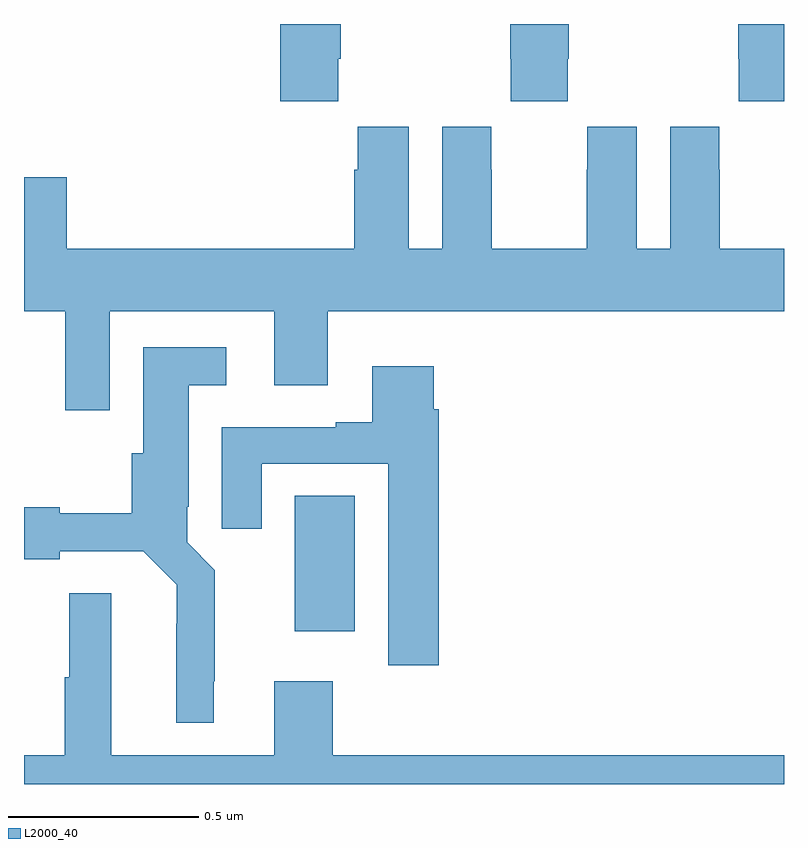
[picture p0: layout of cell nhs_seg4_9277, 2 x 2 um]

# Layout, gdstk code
import gdstk
lib = gdstk.Library(unit=1e-6, precision=1e-09)
def R(c, l, rs):  # rectangles x0, y0, x1, y1
    for r in rs: c.add(gdstk.rectangle(r[:2], r[2:], *l))
def P(c, l, *ps):  # polygons
    for p in ps: c.add(gdstk.Polygon(p, *l))
L2000_40 = (2000, 40)

nhs_seg4_9277 = lib.new_cell('nhs_seg4_9277')
R(nhs_seg4_9277, L2000_40, [(225.713,805.302,225.871,805.658)])
P(nhs_seg4_9277, L2000_40, [(226.431,806.809),(226.434,806.809),(226.434,806.9),(226.279,806.9),(226.279,806.809),(226.281,806.809),(226.281,806.697),(226.431,806.697)],
  [(227,806.9),(226.879,806.9),(226.879,806.809),(226.881,806.809),(226.881,806.697),(227,806.697)],
  [(225.827,806.809),(225.834,806.809),(225.834,806.9),(225.674,806.9),(225.674,806.697),(225.827,806.697)],
  [(225.225,806.144),(225.659,806.144),(225.659,805.95),(225.799,805.95),(225.799,806.144),(227,806.144),(227,806.308),(226.831,806.308),(226.831,806.516),(226.83,806.516),(226.83,806.629),(226.7,806.629),(226.7,806.308),(226.612,806.308),(226.612,806.629),(226.482,806.629),(226.482,806.516),(226.481,806.516),(226.481,806.308),(226.231,806.308),(226.231,806.516),(226.23,806.516),(226.23,806.629),(226.1,806.629),(226.1,806.308),(226.012,806.308),(226.012,806.629),(225.878,806.629),(225.878,806.516),(225.869,806.516),(225.869,806.308),(225.112,806.308),(225.112,806.497),(225,806.497),(225,806.144),(225.109,806.144),(225.109,805.884),(225.225,805.884)],
  [(225.499,805.171),(225.502,805.171),(225.502,805.463),(225.429,805.536),(225.429,805.63),(225.433,805.63),(225.433,805.949),(225.532,805.949),(225.532,806.05),(225.314,806.05),(225.314,805.77),(225.284,805.77),(225.284,805.613),(225.094,805.613),(225.094,805.628),(225,805.628),(225,805.492),(225.094,805.492),(225.094,805.512),(225.314,805.512),(225.402,805.424),(225.402,805.322),(225.401,805.322),(225.401,805.061),(225.499,805.061)],
  [(226.091,805.886),(226.078,805.886),(226.078,805.999),(225.917,805.999),(225.917,805.852),(225.821,805.852),(225.821,805.839),(225.521,805.839),(225.521,805.572),(225.625,805.572),(225.625,805.743),(225.959,805.743),(225.959,805.212),(226.091,805.212)],
  [(227,804.976),(225.812,804.976),(225.812,805.171),(225.659,805.171),(225.659,804.976),(225.229,804.976),(225.229,805.402),(225.119,805.402),(225.119,805.181),(225.107,805.181),(225.107,804.976),(225,804.976),(225,804.9),(227,804.9)])

lib.write_gds('nhs_seg4_9277.gds')
